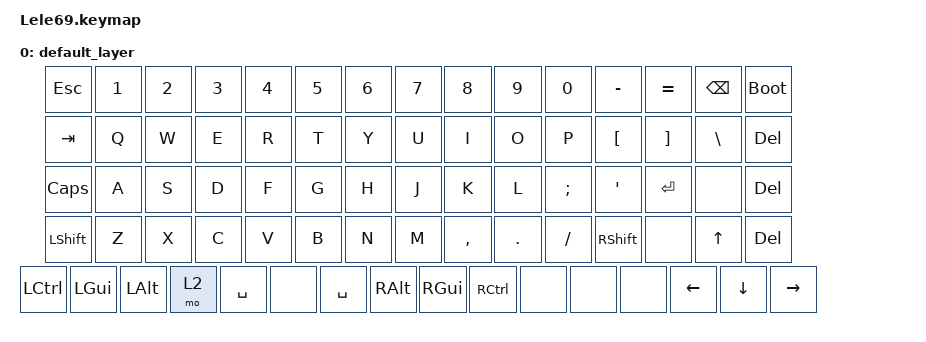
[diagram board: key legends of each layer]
#include <behaviors.dtsi>
#include <dt-bindings/zmk/keys.h>
#include <dt-bindings/zmk/bt.h>
#include <dt-bindings/zmk/outputs.h>
#include <dt-bindings/zmk/rgb.h>

/ {
    keymap {
        compatible = "zmk,keymap";

        default_layer {

            bindings = <
&kp ESC &kp N1 &kp N2 &kp N3 &kp N4 &kp N5 &kp N6 &kp N7 &kp   N8  &kp  N9 &kp  N0  &kp MINUS &kp EQUAL &kp BSPC  &bootloader 
&kp TAB  &kp Q  &kp W  &kp E  &kp R  &kp T  &kp Y  &kp U  &kp   I   &kp  O  &kp   P  &kp LBKT &kp RBKT  &kp BSLH  &kp DELETE                            
&kp CLCK  &kp A  &kp S  &kp D  &kp F  &kp G  &kp H  &kp J  &kp   K   &kp  L  &kp SEMI &kp SQT     &kp RET   &none &kp DELETE                            
&kp LSHFT  &kp Z  &kp X  &kp C  &kp V  &kp B  &kp N  &kp M  &kp COMMA &kp DOT &kp FSLH   &kp RSHFT  &none   &kp UP_ARROW &kp DELETE                     
&kp LCTRL &kp LGUI &kp LALT  &mo 2  &kp SPACE  &none  &kp SPACE   &kp  RALT  &kp RGUI  &kp  RCTRL &none  &none &none  &kp LEFT_ARROW   &kp DOWN_ARROW   &kp RIGHT_ARROW        
			>;
        };

    };
};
